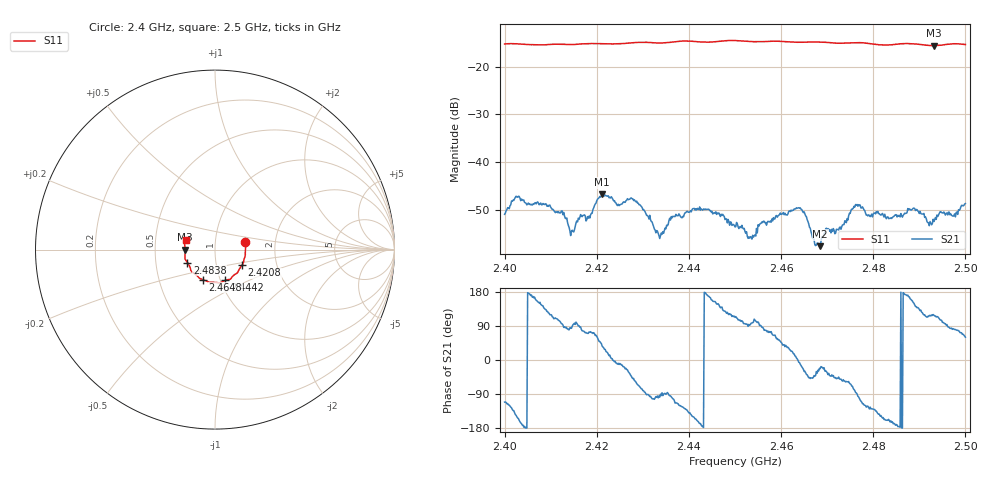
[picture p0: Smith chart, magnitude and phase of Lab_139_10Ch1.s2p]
# Hz S RI R 50
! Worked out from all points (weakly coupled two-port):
!   601 points, 2.4 GHz to 2.5 GHz, reference 50 ohm
!   highest |S21| = -46.72 dB at 2.4212 GHz (marker M1); lowest = -57.6 dB at 2.4685 GHz (marker M2)
!   lowest |S11| = -15.6 dB at 2.4932 GHz (marker M3), VSWR 1.40, Z = 35.8 - j0.0701 ohm
!   |S11| at or under -10 dB: start of sweep to end of sweep
!   S12 and S22 are empty: the file has one direction only
!   S11 on the Smith chart (normalised r, x): 2.4 GHz: 1.40, +0.12; 2.4208 GHz: 1.33, -0.24; 2.4442 GHz: 1.05, -0.37; 2.4648 GHz: 0.83, -0.29; 2.4838 GHz: 0.73, -0.11; 2.5 GHz: 0.72, +0.08
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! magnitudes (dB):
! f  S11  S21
! 2.4 GHz  -15.2  -50.9
! 2.4028 GHz  -15.2  -47.3
! 2.4125 GHz  -15.3  -50.2
! 2.4147 GHz  -15.4  -54.2
! 2.4167 GHz  -15.2  -51.2
! 2.4208 GHz  -15.2  -47.3
! 2.4212 GHz  -15.2  -46.7
! 2.4282 GHz  -15.0  -47.8
! 2.4333 GHz  -15.0  -54.9
! 2.4367 GHz  -14.8  -51.3
! 2.4442 GHz  -14.9  -49.8
! 2.45 GHz  -14.5  -53.5
! 2.4533 GHz  -14.7  -55.6
! 2.4648 GHz  -14.9  -50.5
! 2.4667 GHz  -14.8  -55.1
! 2.4685 GHz  -14.8  -57.6
! 2.4763 GHz  -15.0  -48.9
! 2.4833 GHz  -15.5  -51.8
! 2.4838 GHz  -15.4  -51.6
! 2.489 GHz  -15.2  -49.7
! 2.4932 GHz  -15.6  -52.4
! 2.5 GHz  -15.4  -48.6
